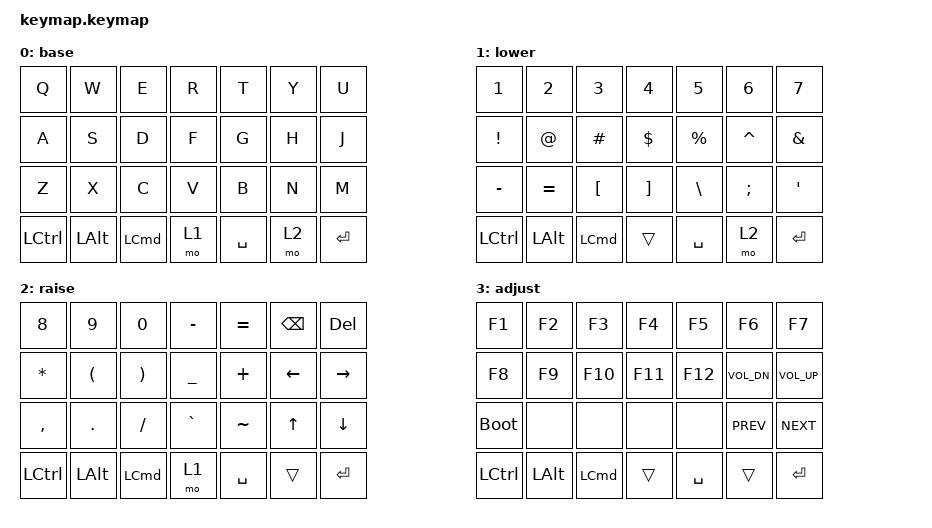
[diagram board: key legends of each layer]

#include <behaviors.dtsi>
#include <dt-bindings/zmk/keys.h>

/ {
    keymap {
        compatible = "zmk,keymap";

        base {
            // ┌─────┬─────┬─────┬─────┬─────┬─────┬─────┐
            // │  Q  │  W  │  E  │  R  │  T  │  Y  │  U  │
            // ├─────┼─────┼─────┼─────┼─────┼─────┼─────┤
            // │  A  │  S  │  D  │  F  │  G  │  H  │  J  │
            // ├─────┼─────┼─────┼─────┼─────┼─────┼─────┤
            // │  Z  │  X  │  C  │  V  │  B  │  N  │  M  │
            // ├─────┼─────┼─────┼─────┼─────┼─────┼─────┤
            // │ Ctrl│ Alt │ Cmd │Lower│Space│Raise│Enter│
            // └─────┴─────┴─────┴─────┴─────┴─────┴─────┘
            bindings = <
                &kp Q       &kp W       &kp E       &kp R       &kp T       &kp Y       &kp U
                &kp A       &kp S       &kp D       &kp F       &kp G       &kp H       &kp J
                &kp Z       &kp X       &kp C       &kp V       &kp B       &kp N       &kp M
                &kp LCTRL   &kp LALT    &kp LCMD    &mo 1       &kp SPACE   &mo 2       &kp ENTER
            >;
        };

        lower {
            // ┌─────┬─────┬─────┬─────┬─────┬─────┬─────┐
            // │  1  │  2  │  3  │  4  │  5  │  6  │  7  │
            // ├─────┼─────┼─────┼─────┼─────┼─────┼─────┤
            // │  !  │  @  │  #  │  $  │  %  │  ^  │  &  │
            // ├─────┼─────┼─────┼─────┼─────┼─────┼─────┤
            // │  -  │  =  │  [  │  ]  │  \  │  ;  │  '  │
            // ├─────┼─────┼─────┼─────┼─────┼─────┼─────┤
            // │ Ctrl│ Alt │ Cmd │ --- │Space│Raise│Enter│
            // └─────┴─────┴─────┴─────┴─────┴─────┴─────┘
            bindings = <
                &kp N1      &kp N2      &kp N3      &kp N4      &kp N5      &kp N6      &kp N7
                &kp EXCL    &kp AT      &kp HASH    &kp DLLR    &kp PRCNT   &kp CARET   &kp AMPS
                &kp MINUS   &kp EQUAL   &kp LBKT    &kp RBKT    &kp BSLH    &kp SEMI    &kp SQT
                &kp LCTRL   &kp LALT    &kp LCMD    &trans      &kp SPACE   &mo 2       &kp ENTER
            >;
        };

        raise {
            // ┌─────┬─────┬─────┬─────┬─────┬─────┬─────┐
            // │  8  │  9  │  0  │  -  │  =  │Bkspc│ Del │
            // ├─────┼─────┼─────┼─────┼─────┼─────┼─────┤
            // │  *  │  (  │  )  │  _  │  +  │ Left│Right│
            // ├─────┼─────┼─────┼─────┼─────┼─────┼─────┤
            // │  ,  │  .  │  /  │  `  │  ~  │ Up  │Down │
            // ├─────┼─────┼─────┼─────┼─────┼─────┼─────┤
            // │ Ctrl│ Alt │ Cmd │Lower│Space│ --- │Enter│
            // └─────┴─────┴─────┴─────┴─────┴─────┴─────┘
            bindings = <
                &kp N8      &kp N9      &kp N0      &kp MINUS   &kp EQUAL   &kp BSPC    &kp DEL
                &kp ASTRK   &kp LPAR    &kp RPAR    &kp UNDER   &kp PLUS    &kp LEFT    &kp RIGHT
                &kp COMMA   &kp DOT     &kp FSLH    &kp GRAVE   &kp TILDE   &kp UP      &kp DOWN
                &kp LCTRL   &kp LALT    &kp LCMD    &mo 1       &kp SPACE   &trans      &kp ENTER
            >;
        };

        adjust {
            // ┌─────┬─────┬─────┬─────┬─────┬─────┬─────┐
            // │ F1  │ F2  │ F3  │ F4  │ F5  │ F6  │ F7  │
            // ├─────┼─────┼─────┼─────┼─────┼─────┼─────┤
            // │ F8  │ F9  │ F10 │ F11 │ F12 │Vol- │Vol+ │
            // ├─────┼─────┼─────┼─────┼─────┼─────┼─────┤
            // │Reset│     │     │     │     │Prev │Next │
            // ├─────┼─────┼─────┼─────┼─────┼─────┼─────┤
            // │ Ctrl│ Alt │ Cmd │ --- │Space│ --- │Enter│
            // └─────┴─────┴─────┴─────┴─────┴─────┴─────┘
            bindings = <
                &kp F1      &kp F2      &kp F3      &kp F4      &kp F5      &kp F6      &kp F7
                &kp F8      &kp F9      &kp F10     &kp F11     &kp F12     &kp C_VOL_DN &kp C_VOL_UP
                &bootloader &none       &none       &none       &none       &kp C_PREV  &kp C_NEXT
                &kp LCTRL   &kp LALT    &kp LCMD    &trans      &kp SPACE   &trans      &kp ENTER
            >;
        };
    };
};
